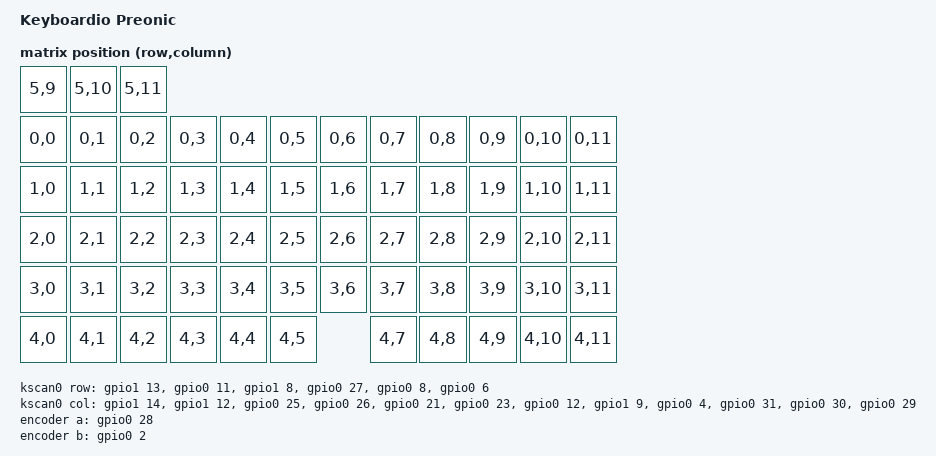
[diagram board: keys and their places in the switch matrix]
/dts-v1/;
#include <nordic/nrf52840_qiaa.dtsi>
#include <dt-bindings/zmk/matrix_transform.h>
#include <dt-bindings/zmk/keys.h>
#include <dt-bindings/gpio/gpio.h>

/ {
	model = "Keyboardio Preonic";
	compatible = "keyboardio,preonic";

	chosen {
		zephyr,code-partition = &slot0_partition;
		zephyr,sram = &sram0;
		zephyr,flash = &flash0;
		zmk,kscan = &kscan0;
		zmk,matrix_transform = &mit_layout;
	};

	// 키맵에서 참조하는 라벨 'mit_layout'을 명시적으로 정의
	mit_layout: mit_layout {
		compatible = "zmk,matrix-transform";
		columns = <12>;
		rows = <6>;
		map = <
			RC(5,9) RC(5,10) RC(5,11)
			RC(0,0) RC(0,1) RC(0,2) RC(0,3) RC(0,4) RC(0,5) RC(0,6) RC(0,7) RC(0,8) RC(0,9) RC(0,10) RC(0,11)
			RC(1,0) RC(1,1) RC(1,2) RC(1,3) RC(1,4) RC(1,5) RC(1,6) RC(1,7) RC(1,8) RC(1,9) RC(1,10) RC(1,11)
			RC(2,0) RC(2,1) RC(2,2) RC(2,3) RC(2,4) RC(2,5) RC(2,6) RC(2,7) RC(2,8) RC(2,9) RC(2,10) RC(2,11)
			RC(3,0) RC(3,1) RC(3,2) RC(3,3) RC(3,4) RC(3,5) RC(3,6) RC(3,7) RC(3,8) RC(3,9) RC(3,10) RC(3,11)
			RC(4,0) RC(4,1) RC(4,2) RC(4,3) RC(4,4)     RC(4,5)     RC(4,7) RC(4,8) RC(4,9) RC(4,10) RC(4,11)
		>;
	};

	kscan0: kscan {
		compatible = "zmk,kscan-gpio-matrix";
		diode-direction = "col2row";
		row-gpios
			= <&gpio1 13 (GPIO_ACTIVE_HIGH | GPIO_PULL_DOWN)>
			, <&gpio0 11 (GPIO_ACTIVE_HIGH | GPIO_PULL_DOWN)>
			, <&gpio1 8  (GPIO_ACTIVE_HIGH | GPIO_PULL_DOWN)>
			, <&gpio0 27 (GPIO_ACTIVE_HIGH | GPIO_PULL_DOWN)>
			, <&gpio0 8  (GPIO_ACTIVE_HIGH | GPIO_PULL_DOWN)>
			, <&gpio0 6  (GPIO_ACTIVE_HIGH | GPIO_PULL_DOWN)>
			;
		col-gpios
			= <&gpio1 14 GPIO_ACTIVE_HIGH>
			, <&gpio1 12 GPIO_ACTIVE_HIGH>
			, <&gpio0 25 GPIO_ACTIVE_HIGH>
			, <&gpio0 26 GPIO_ACTIVE_HIGH>
			, <&gpio0 21 GPIO_ACTIVE_HIGH>
			, <&gpio0 23 GPIO_ACTIVE_HIGH>
			, <&gpio0 12 GPIO_ACTIVE_HIGH>
			, <&gpio1 9  GPIO_ACTIVE_HIGH>
			, <&gpio0 4  GPIO_ACTIVE_HIGH>
			, <&gpio0 31 GPIO_ACTIVE_HIGH>
			, <&gpio0 30 GPIO_ACTIVE_HIGH>
			, <&gpio0 29 GPIO_ACTIVE_HIGH>
			;
	};

    // 노브 센서 설정 유지
	encoder: encoder {
		compatible = "alps,ec11";
		a-gpios = <&gpio0 28 (GPIO_ACTIVE_HIGH | GPIO_PULL_UP)>;
		b-gpios = <&gpio0 2  (GPIO_ACTIVE_HIGH | GPIO_PULL_UP)>;
		steps = <80>;
		status = "okay";
	};

	sensors: sensors {
		compatible = "zmk,keymap-sensors";
		sensors = <&encoder>;
		triggers-per-rotation = <20>;
	};
};

&flash0 {
	partitions {
		compatible = "fixed-partitions";
		#address-cells = <1>;
		#size-cells = <1>;
		boot_partition: partition@0 { label = "mcuboot"; reg = <0x00000000 0x0000C000>; };
		slot0_partition: partition@c000 { label = "image-0"; reg = <0x0000C000 0x00076000>; };
		slot1_partition: partition@82000 { label = "image-1"; reg = <0x00082000 0x00076000>; };
		scratch_partition: partition@f8000 { label = "image-scratch"; reg = <0x000F8000 0x00006000>; };
		storage_partition: partition@fe000 { label = "storage"; reg = <0x000FE000 0x00002000>; };
	};
};
